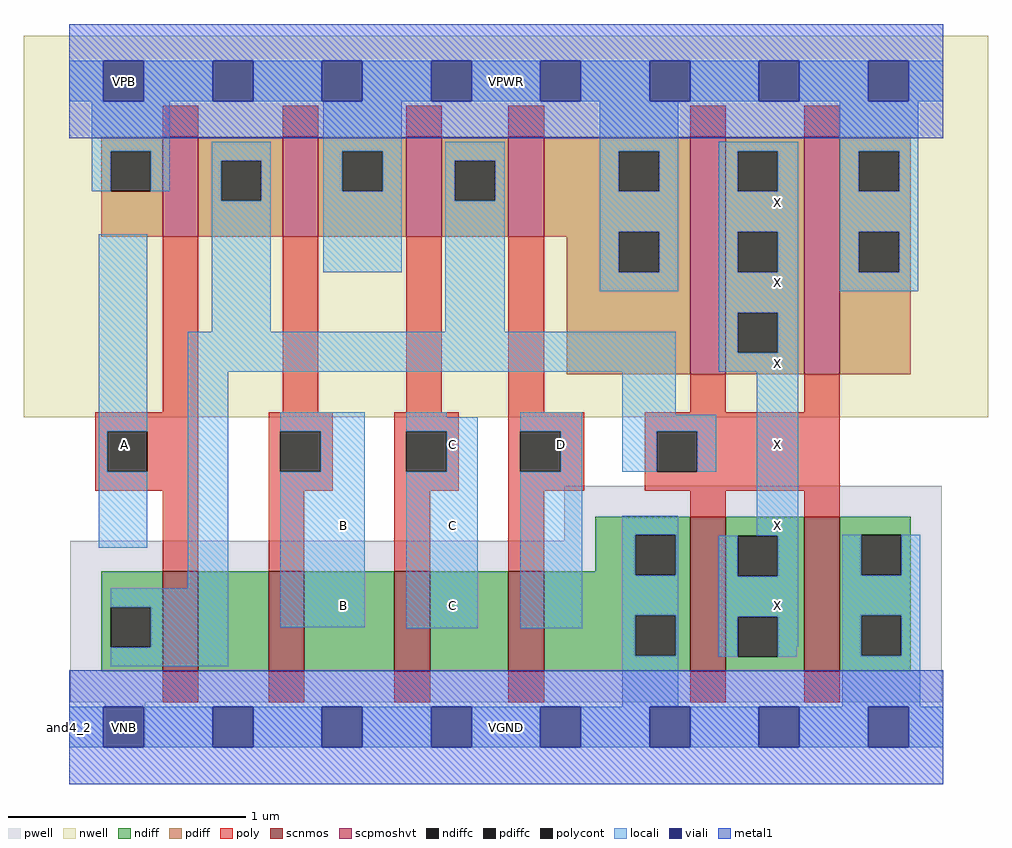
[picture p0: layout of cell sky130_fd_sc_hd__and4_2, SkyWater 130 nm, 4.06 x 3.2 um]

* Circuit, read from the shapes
.subckt sky130_fd_sc_hd__and4_2 A B C D VGND VNB VPB VPWR X
XM1 n1 A n2 VNB sky130_fd_pr__nfet_01v8 w=0.42 l=0.15
XM2 n3 B n1 VNB sky130_fd_pr__nfet_01v8 w=0.42 l=0.15
XM3 n4 C n3 VNB sky130_fd_pr__nfet_01v8 w=0.42 l=0.15
XM4 VGND D n4 VNB sky130_fd_pr__nfet_01v8 w=0.42 l=0.15
XM5 X n2 VGND VNB sky130_fd_pr__nfet_01v8 w=0.65 l=0.15 m=2
XM6 n2 A VPWR VPB sky130_fd_pr__pfet_01v8_hvt w=0.42 l=0.15
XM7 VPWR B n2 VPB sky130_fd_pr__pfet_01v8_hvt w=0.42 l=0.15
XM8 n2 C VPWR VPB sky130_fd_pr__pfet_01v8_hvt w=0.42 l=0.15
XM9 VPWR D n2 VPB sky130_fd_pr__pfet_01v8_hvt w=0.42 l=0.15
XM10 X n2 VPWR VPB sky130_fd_pr__pfet_01v8_hvt w=1 l=0.15 m=2
.ends

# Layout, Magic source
magic
tech sky130A
magscale 1 2
<< nwell >>
rect -38 261 774 582
<< pwell >>
rect 417 157 735 203
rect 1 21 735 157
rect 30 -17 64 21
<< scnmos >>
rect 79 47 109 131
rect 168 47 198 131
rect 274 47 304 131
rect 370 47 400 131
rect 523 47 553 177
rect 619 47 649 177
<< scpmoshvt >>
rect 79 413 109 497
rect 180 413 210 497
rect 284 413 314 497
rect 370 413 400 497
rect 523 297 553 497
rect 619 297 649 497
<< ndiff >>
rect 443 162 523 177
rect 443 131 477 162
rect 27 101 79 131
rect 27 67 35 101
rect 69 67 79 101
rect 27 47 79 67
rect 109 47 168 131
rect 198 47 274 131
rect 304 47 370 131
rect 400 128 477 131
rect 511 128 523 162
rect 400 94 523 128
rect 400 60 477 94
rect 511 60 523 94
rect 400 47 523 60
rect 553 161 619 177
rect 553 127 563 161
rect 597 127 619 161
rect 553 93 619 127
rect 553 59 563 93
rect 597 59 619 93
rect 553 47 619 59
rect 649 162 709 177
rect 649 128 667 162
rect 701 128 709 162
rect 649 94 709 128
rect 649 60 667 94
rect 701 60 709 94
rect 649 47 709 60
<< pdiff >>
rect 27 485 79 497
rect 27 451 35 485
rect 69 451 79 485
rect 27 413 79 451
rect 109 477 180 497
rect 109 443 128 477
rect 162 443 180 477
rect 109 413 180 443
rect 210 485 284 497
rect 210 451 230 485
rect 264 451 284 485
rect 210 413 284 451
rect 314 477 370 497
rect 314 443 325 477
rect 359 443 370 477
rect 314 413 370 443
rect 400 485 523 497
rect 400 451 463 485
rect 497 451 523 485
rect 400 417 523 451
rect 400 413 463 417
rect 419 383 463 413
rect 497 383 523 417
rect 419 297 523 383
rect 553 485 619 497
rect 553 451 563 485
rect 597 451 619 485
rect 553 417 619 451
rect 553 383 563 417
rect 597 383 619 417
rect 553 349 619 383
rect 553 315 563 349
rect 597 315 619 349
rect 553 297 619 315
rect 649 485 709 497
rect 649 451 665 485
rect 699 451 709 485
rect 649 417 709 451
rect 649 383 665 417
rect 699 383 709 417
rect 649 297 709 383
<< ndiffc >>
rect 35 67 69 101
rect 477 128 511 162
rect 477 60 511 94
rect 563 127 597 161
rect 563 59 597 93
rect 667 128 701 162
rect 667 60 701 94
<< pdiffc >>
rect 35 451 69 485
rect 128 443 162 477
rect 230 451 264 485
rect 325 443 359 477
rect 463 451 497 485
rect 463 383 497 417
rect 563 451 597 485
rect 563 383 597 417
rect 563 315 597 349
rect 665 451 699 485
rect 665 383 699 417
<< poly >>
rect 79 497 109 523
rect 180 497 210 523
rect 284 497 314 523
rect 370 497 400 523
rect 523 497 553 523
rect 619 497 649 523
rect 79 265 109 413
rect 180 265 210 413
rect 284 265 314 413
rect 370 265 400 413
rect 523 265 553 297
rect 619 265 649 297
rect 22 249 109 265
rect 22 215 32 249
rect 66 215 109 249
rect 22 199 109 215
rect 79 131 109 199
rect 168 249 222 265
rect 168 215 178 249
rect 212 215 222 249
rect 168 199 222 215
rect 274 249 328 265
rect 274 215 284 249
rect 318 215 328 249
rect 274 199 328 215
rect 370 249 434 265
rect 370 215 380 249
rect 414 215 434 249
rect 370 199 434 215
rect 485 249 649 265
rect 485 215 495 249
rect 529 215 649 249
rect 485 199 649 215
rect 168 131 198 199
rect 274 131 304 199
rect 370 131 400 199
rect 523 177 553 199
rect 619 177 649 199
rect 79 21 109 47
rect 168 21 198 47
rect 274 21 304 47
rect 370 21 400 47
rect 523 21 553 47
rect 619 21 649 47
<< polycont >>
rect 32 215 66 249
rect 178 215 212 249
rect 284 215 318 249
rect 380 215 414 249
rect 495 215 529 249
<< locali >>
rect 0 527 29 561
rect 63 527 121 561
rect 155 527 213 561
rect 247 527 305 561
rect 339 527 397 561
rect 431 527 489 561
rect 523 527 581 561
rect 615 527 673 561
rect 707 527 736 561
rect 19 485 85 527
rect 19 451 35 485
rect 69 451 85 485
rect 120 477 170 493
rect 120 443 128 477
rect 162 443 170 477
rect 25 249 66 415
rect 120 333 170 443
rect 214 485 280 527
rect 214 451 230 485
rect 264 451 280 485
rect 214 383 280 451
rect 317 477 367 493
rect 317 443 325 477
rect 359 443 367 477
rect 317 333 367 443
rect 447 485 513 527
rect 447 451 463 485
rect 497 451 513 485
rect 447 417 513 451
rect 447 383 463 417
rect 497 383 513 417
rect 447 367 513 383
rect 547 485 614 493
rect 547 451 563 485
rect 597 451 614 485
rect 547 417 614 451
rect 547 383 563 417
rect 597 383 614 417
rect 547 349 614 383
rect 649 485 715 527
rect 649 451 665 485
rect 699 451 715 485
rect 649 417 715 451
rect 649 383 665 417
rect 699 383 715 417
rect 649 367 715 383
rect 25 215 32 249
rect 25 151 66 215
rect 100 299 511 333
rect 547 315 563 349
rect 597 315 614 349
rect 547 299 614 315
rect 100 117 134 299
rect 35 101 134 117
rect 69 67 134 101
rect 178 249 249 265
rect 212 215 249 249
rect 178 84 249 215
rect 284 261 318 265
rect 284 249 344 261
rect 318 215 344 249
rect 284 83 344 215
rect 380 249 432 265
rect 414 215 432 249
rect 466 263 511 299
rect 466 249 545 263
rect 466 215 495 249
rect 529 215 545 249
rect 380 83 432 215
rect 466 162 513 178
rect 466 128 477 162
rect 511 128 513 162
rect 579 161 614 299
rect 466 94 513 128
rect 35 51 134 67
rect 466 60 477 94
rect 511 60 513 94
rect 466 17 513 60
rect 547 127 563 161
rect 597 127 614 161
rect 547 93 614 127
rect 547 59 563 93
rect 597 68 614 93
rect 651 128 667 162
rect 701 128 717 162
rect 651 94 717 128
rect 597 59 613 68
rect 651 60 667 94
rect 701 60 717 94
rect 651 17 717 60
rect 0 -17 29 17
rect 63 -17 121 17
rect 155 -17 213 17
rect 247 -17 305 17
rect 339 -17 397 17
rect 431 -17 489 17
rect 523 -17 581 17
rect 615 -17 673 17
rect 707 -17 736 17
<< viali >>
rect 29 527 63 561
rect 121 527 155 561
rect 213 527 247 561
rect 305 527 339 561
rect 397 527 431 561
rect 489 527 523 561
rect 581 527 615 561
rect 673 527 707 561
rect 29 -17 63 17
rect 121 -17 155 17
rect 213 -17 247 17
rect 305 -17 339 17
rect 397 -17 431 17
rect 489 -17 523 17
rect 581 -17 615 17
rect 673 -17 707 17
<< metal1 >>
rect 0 561 736 592
rect 0 527 29 561
rect 63 527 121 561
rect 155 527 213 561
rect 247 527 305 561
rect 339 527 397 561
rect 431 527 489 561
rect 523 527 581 561
rect 615 527 673 561
rect 707 527 736 561
rect 0 496 736 527
rect 0 17 736 48
rect 0 -17 29 17
rect 63 -17 121 17
rect 155 -17 213 17
rect 247 -17 305 17
rect 339 -17 397 17
rect 431 -17 489 17
rect 523 -17 581 17
rect 615 -17 673 17
rect 707 -17 736 17
rect 0 -48 736 -17
<< labels >>
flabel locali s 580 425 614 459 0 FreeSans 200 0 0 0 X
port 9 nsew signal output
flabel locali s 306 85 340 119 0 FreeSans 200 0 0 0 C
port 3 nsew signal input
flabel locali s 306 153 340 187 0 FreeSans 200 0 0 0 C
port 3 nsew signal input
flabel locali s 30 221 64 255 0 FreeSans 200 0 0 0 A
port 1 nsew signal input
flabel locali s 306 221 340 255 0 FreeSans 200 0 0 0 C
port 3 nsew signal input
flabel locali s 214 85 248 119 0 FreeSans 200 0 0 0 B
port 2 nsew signal input
flabel locali s 214 153 248 187 0 FreeSans 200 0 0 0 B
port 2 nsew signal input
flabel locali s 398 221 432 255 0 FreeSans 200 0 0 0 D
port 4 nsew signal input
flabel locali s 580 85 614 119 0 FreeSans 200 0 0 0 X
port 9 nsew signal output
flabel locali s 580 153 614 187 0 FreeSans 200 0 0 0 X
port 9 nsew signal output
flabel locali s 580 221 614 255 0 FreeSans 200 0 0 0 X
port 9 nsew signal output
flabel locali s 580 289 614 323 0 FreeSans 200 0 0 0 X
port 9 nsew signal output
flabel locali s 580 357 614 391 0 FreeSans 200 0 0 0 X
port 9 nsew signal output
flabel pwell s 30 -17 64 17 0 FreeSans 200 0 0 0 VNB
port 6 nsew ground bidirectional
flabel nwell s 30 527 64 561 0 FreeSans 200 0 0 0 VPB
port 7 nsew power bidirectional
flabel metal1 s 30 -17 64 17 0 FreeSans 200 0 0 0 VGND
port 5 nsew ground bidirectional abutment
flabel metal1 s 30 527 64 561 0 FreeSans 200 0 0 0 VPWR
port 8 nsew power bidirectional abutment
rlabel comment s 0 0 0 0 4 and4_2
rlabel metal1 s 0 -48 736 48 1 VGND
port 5 nsew ground bidirectional abutment
rlabel metal1 s 0 496 736 592 1 VPWR
port 8 nsew power bidirectional abutment
<< properties >>
string FIXED_BBOX 0 0 736 544
string GDS_END 3892210
string GDS_FILE $PDKPATH/libs.ref/sky130_fd_sc_hd/gds/sky130_fd_sc_hd.gds
string GDS_START 3884992
string LEFclass CORE
string LEFsite unithd
string LEFsymmetry X Y R90
string path 0.000 0.000 18.400 0.000 
<< end >>
